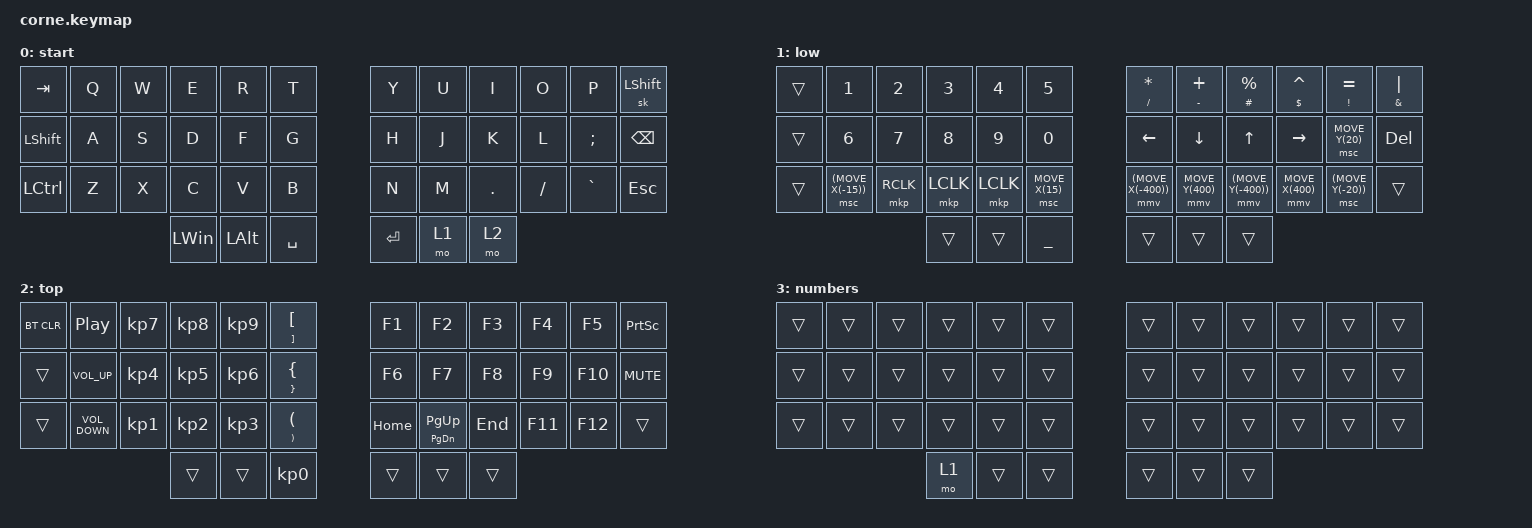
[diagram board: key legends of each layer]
#include <behaviors.dtsi>
#include <dt-bindings/zmk/bt.h>
#include <dt-bindings/zmk/keys.h>
#include <dt-bindings/zmk/pointing.h>

&mt {
    flavor = "tap-preferred";
    tapping-term-ms = <130>;
};

/ {
    combos {
        compatible = "zmk,combos";

        zapata {
            timeout-ms = <100>;
            bindings = <&kp COMMA>;
            key-positions = <16 32>;
        };

        backslash {
            timeout-ms = <100>;
            bindings = <&kp BACKSLASH>;
            key-positions = <16 33>;
        };

        apos {
            timeout-ms = <100>;
            bindings = <&kp APOS>;
            key-positions = <16 22>;
        };

        box_r {
            timeout-ms = <100>;
            bindings = <&kp LBKT>;
            key-positions = <16 9>;
        };

        box_l {
            timeout-ms = <100>;
            bindings = <&kp RBKT>;
            key-positions = <16 10>;
        };

        Layer3 {
            bindings = <&tog 3>;
            key-positions = <0 11>;
        };
    };

    keymap {
        compatible = "zmk,keymap";

        start {
            bindings = <
&kp TAB         &kp Q  &kp W  &kp E         &kp R         &kp T        &kp Y      &kp U  &kp I    &kp O      &kp P      &sk LEFT_SHIFT
&kp LEFT_SHIFT  &kp A  &kp S  &kp D         &kp F         &kp G        &kp H      &kp J  &kp K    &kp L      &kp SEMI   &kp BACKSPACE
&kp LCTRL       &kp Z  &kp X  &kp C         &kp V         &kp B        &kp N      &kp M  &kp DOT  &kp SLASH  &kp GRAVE  &kp ESC
                              &kp LEFT_WIN  &kp LEFT_ALT  &kp SPACE    &kp ENTER  &mo 1  &mo 2
            >;
        };

        low {
            bindings = <
&trans  &kp N1              &kp N2     &kp N3     &kp N4     &kp N5             &mt SLASH ASTERISK   &mt MINUS PLUS    &mt POUND PERCENT    &mt DOLLAR CARET  &mt EXCLAMATION EQUAL  &mt AMPERSAND PIPE
&trans  &kp N6              &kp N7     &kp N8     &kp N9     &kp N0             &kp LEFT             &kp DOWN          &kp UP               &kp RIGHT         &msc MOVE_Y(20)        &kp DELETE
&trans  &msc (MOVE_X(-15))  &mkp RCLK  &mkp LCLK  &mkp LCLK  &msc MOVE_X(15)    &mmv (MOVE_X(-400))  &mmv MOVE_Y(400)  &mmv (MOVE_Y(-400))  &mmv MOVE_X(400)  &msc (MOVE_Y(-20))     &trans
                                       &trans     &trans     &kp UNDERSCORE     &trans               &trans            &trans
            >;
        };

        top {
            bindings = <
&bt BT_CLR  &kp C_PLAY_PAUSE   &kp KP_N7  &kp KP_N8  &kp KP_N9  &mt RIGHT_BRACKET LEFT_BRACKET            &kp F1    &kp F2           &kp F3   &kp F4   &kp F5   &kp PRINTSCREEN
&trans      &kp C_VOLUME_UP    &kp KP_N4  &kp KP_N5  &kp KP_N6  &mt RIGHT_BRACE LEFT_BRACE                &kp F6    &kp F7           &kp F8   &kp F9   &kp F10  &kp C_MUTE
&trans      &kp C_VOLUME_DOWN  &kp KP_N1  &kp KP_N2  &kp KP_N3  &mt RIGHT_PARENTHESIS LEFT_PARENTHESIS    &kp HOME  &mt PG_DN PG_UP  &kp END  &kp F11  &kp F12  &trans
                                          &trans     &trans     &kp KP_N0                                 &trans    &trans           &trans
            >;
        };

        numbers {
            bindings = <
&trans  &trans  &trans  &trans  &trans  &trans    &trans  &trans  &trans  &trans  &trans  &trans
&trans  &trans  &trans  &trans  &trans  &trans    &trans  &trans  &trans  &trans  &trans  &trans
&trans  &trans  &trans  &trans  &trans  &trans    &trans  &trans  &trans  &trans  &trans  &trans
                        &mo 1   &trans  &trans    &trans  &trans  &trans
            >;
        };
    };
};
